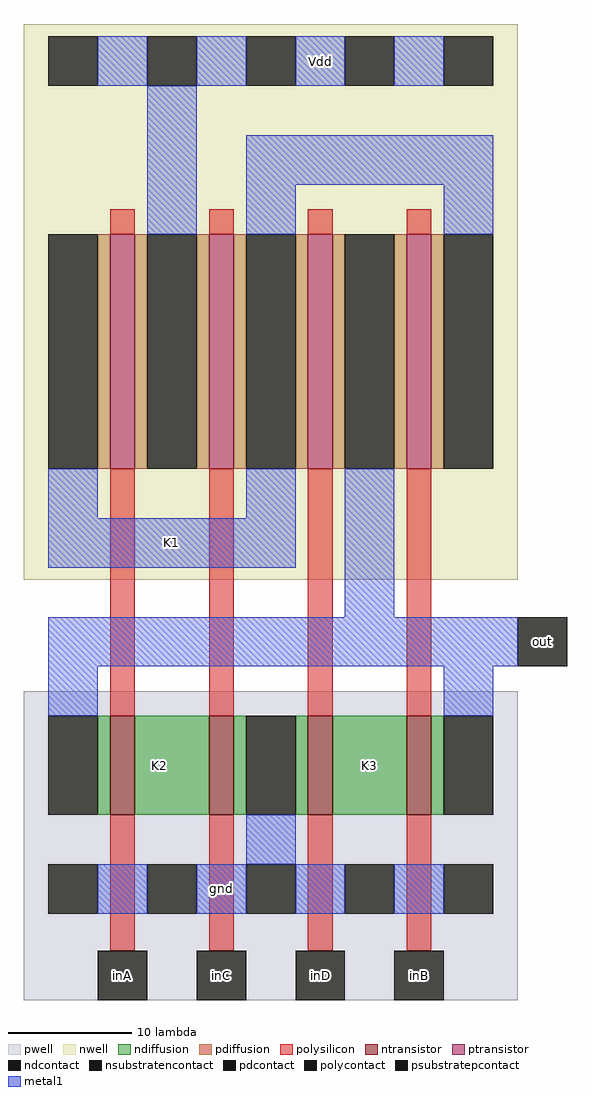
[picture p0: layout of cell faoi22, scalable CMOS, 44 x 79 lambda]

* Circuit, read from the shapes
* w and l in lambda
.subckt faoi22 K1 K2 K3 Vdd gnd inA inB inC inD out
M1 K2 inA out gnd nfet w=8 l=2
M2 gnd inC K2 gnd nfet w=8 l=2
M3 K3 inD gnd gnd nfet w=8 l=2
M4 out inB K3 gnd nfet w=8 l=2
M5 Vdd inA K1 Vdd pfet w=19 l=2
M6 K1 inC Vdd Vdd pfet w=19 l=2
M7 out inD K1 Vdd pfet w=19 l=2
M8 K1 inB out Vdd pfet w=19 l=2
.ends

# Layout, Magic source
magic
tech scmos
<< pwell >>
rect -22 -65 18 -40
<< nwell >>
rect -22 -31 18 14
<< polysilicon >>
rect -15 -3 -13 -1
rect -7 -3 -5 -1
rect 1 -3 3 -1
rect 9 -3 11 -1
rect -15 -42 -13 -22
rect -7 -42 -5 -22
rect 1 -42 3 -22
rect 9 -42 11 -22
rect -15 -61 -13 -50
rect -7 -61 -5 -50
rect 1 -61 3 -50
rect 9 -61 11 -50
<< ndiffusion >>
rect -16 -50 -15 -42
rect -13 -50 -7 -42
rect -5 -50 -4 -42
rect 0 -50 1 -42
rect 3 -50 9 -42
rect 11 -50 12 -42
<< pdiffusion >>
rect -16 -22 -15 -3
rect -13 -22 -12 -3
rect -8 -22 -7 -3
rect -5 -22 -4 -3
rect 0 -22 1 -3
rect 3 -22 4 -3
rect 8 -22 9 -3
rect 11 -22 12 -3
<< metal1 >>
rect -16 9 -12 13
rect -8 9 -4 13
rect 0 9 4 13
rect 8 9 12 13
rect -12 -3 -8 9
rect -4 1 16 5
rect -4 -3 0 1
rect 12 -3 16 1
rect -20 -26 -16 -22
rect -4 -26 0 -22
rect -20 -30 0 -26
rect 4 -34 8 -22
rect -20 -38 18 -34
rect -20 -42 -16 -38
rect 12 -42 16 -38
rect -4 -54 0 -50
rect -16 -58 -12 -54
rect -8 -58 -4 -54
rect 0 -58 4 -54
rect 8 -58 12 -54
<< ntransistor >>
rect -15 -50 -13 -42
rect -7 -50 -5 -42
rect 1 -50 3 -42
rect 9 -50 11 -42
<< ptransistor >>
rect -15 -22 -13 -3
rect -7 -22 -5 -3
rect 1 -22 3 -3
rect 9 -22 11 -3
<< polycontact >>
rect 18 -38 22 -34
rect -16 -65 -12 -61
rect -8 -65 -4 -61
rect 0 -65 4 -61
rect 8 -65 12 -61
<< ndcontact >>
rect -20 -50 -16 -42
rect -4 -50 0 -42
rect 12 -50 16 -42
<< pdcontact >>
rect -20 -22 -16 -3
rect -12 -22 -8 -3
rect -4 -22 0 -3
rect 4 -22 8 -3
rect 12 -22 16 -3
<< psubstratepcontact >>
rect -20 -58 -16 -54
rect -12 -58 -8 -54
rect -4 -58 0 -54
rect 4 -58 8 -54
rect 12 -58 16 -54
<< nsubstratencontact >>
rect -20 9 -16 13
rect -12 9 -8 13
rect -4 9 0 13
rect 4 9 8 13
rect 12 9 16 13
<< labels >>
rlabel metal1 2 11 2 11 1 Vdd
rlabel polycontact 20 -36 20 -36 8 out
rlabel metal1 -6 -56 -6 -56 1 gnd
rlabel polycontact -14 -63 -14 -63 1 inA
rlabel polycontact -6 -63 -6 -63 1 inC
rlabel polycontact 2 -63 2 -63 1 inD
rlabel polycontact 10 -63 10 -63 1 inB
rlabel metal1 -10 -28 -10 -28 1 K1
rlabel ndiffusion -11 -46 -11 -46 1 K2
rlabel ndiffusion 6 -46 6 -46 1 K3
<< end >>
